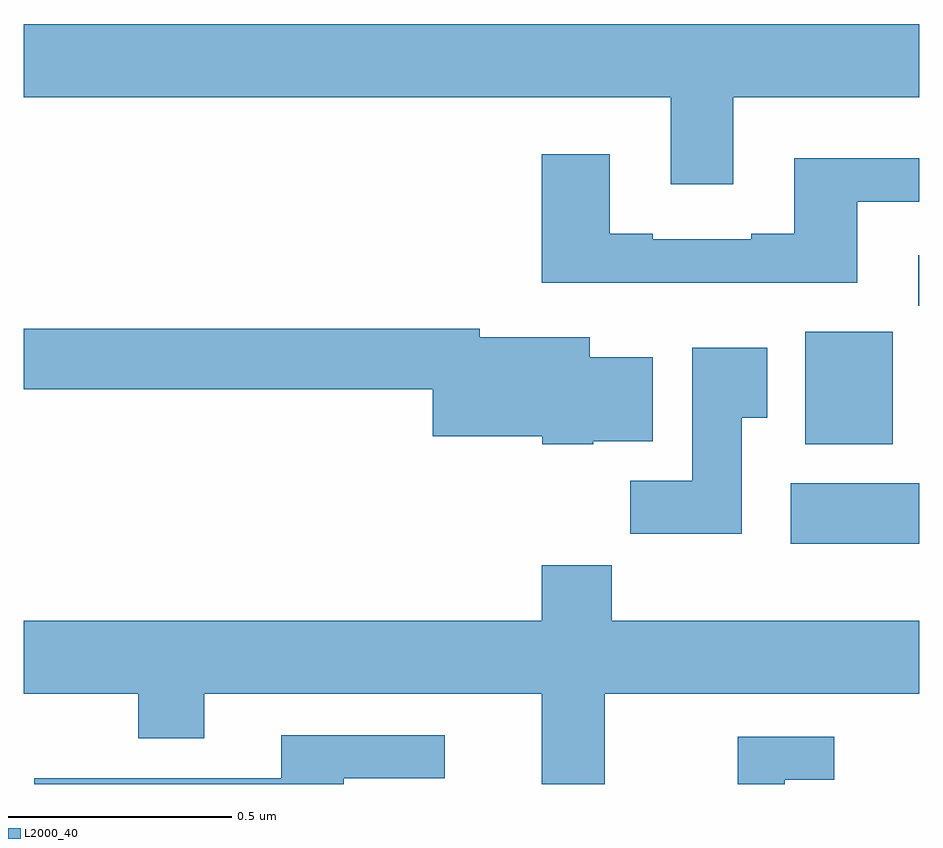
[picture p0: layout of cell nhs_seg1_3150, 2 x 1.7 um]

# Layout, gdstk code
import gdstk
lib = gdstk.Library(unit=1e-6, precision=1e-09)
def R(c, l, rs):  # rectangles x0, y0, x1, y1
    for r in rs: c.add(gdstk.rectangle(r[:2], r[2:], *l))
def P(c, l, *ps):  # polygons
    for p in ps: c.add(gdstk.Polygon(p, *l))
L2000_40 = (2000, 40)

nhs_seg1_3150 = lib.new_cell('nhs_seg1_3150')
R(nhs_seg1_3150, L2000_40, [(151.713,550.736,152,550.87), (151.745,550.958,151.941,551.209), (151.997,551.267,152,551.38)])
P(nhs_seg1_3150, L2000_40, [(151.585,551.732),(152,551.732),(152,551.896),(150,551.896),(150,551.732),(151.445,551.732),(151.445,551.538),(151.585,551.538)],
  [(151.861,551.499),(152,551.499),(152,551.596),(151.721,551.596),(151.721,551.428),(151.625,551.428),(151.625,551.415),(151.405,551.415),(151.405,551.428),(151.309,551.428),(151.309,551.605),(151.157,551.605),(151.157,551.318),(151.861,551.318)],
  [(151.272,550.964),(151.405,550.964),(151.405,551.152),(151.264,551.152),(151.264,551.197),(151.018,551.197),(151.018,551.216),(150,551.216),(150,551.08),(150.914,551.08),(150.914,550.976),(151.158,550.976),(151.158,550.958),(151.272,550.958)],
  [(151.603,551.017),(151.66,551.017),(151.66,551.173),(151.493,551.173),(151.493,550.876),(151.354,550.876),(151.354,550.758),(151.603,550.758)],
  [(151.297,550.4),(152,550.4),(152,550.564),(151.313,550.564),(151.313,550.688),(151.157,550.688),(151.157,550.564),(150,550.564),(150,550.4),(150.256,550.4),(150.256,550.301),(150.403,550.301),(150.403,550.4),(151.157,550.4),(151.157,550.199),(151.297,550.199)],
  [(150.715,550.212),(150.94,550.212),(150.94,550.308),(150.575,550.308),(150.575,550.212),(150.024,550.212),(150.024,550.199),(150.715,550.199)],
  [(151.699,550.209),(151.81,550.209),(151.81,550.305),(151.595,550.305),(151.595,550.199),(151.699,550.199)])

lib.write_gds('nhs_seg1_3150.gds')
